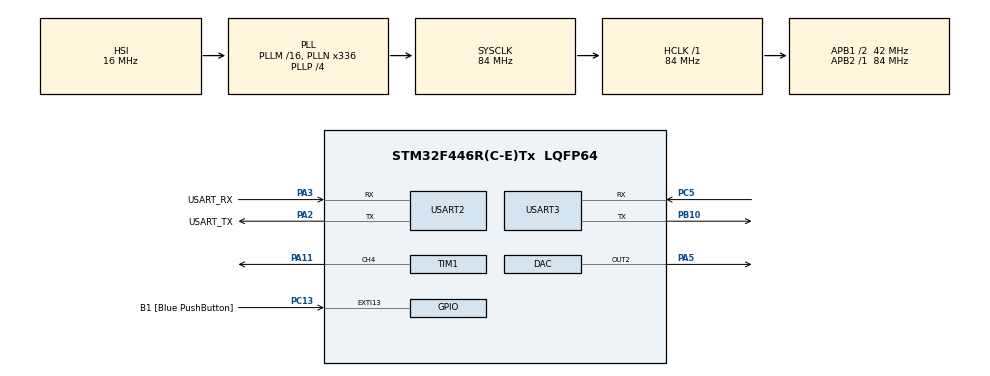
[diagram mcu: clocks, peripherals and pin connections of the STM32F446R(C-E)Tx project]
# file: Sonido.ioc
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DAC.DAC_Trigger2=DAC_TRIGGER_T6_TRGO
Dma.DAC2.0.Direction=DMA_MEMORY_TO_PERIPH
Dma.DAC2.0.FIFOMode=DMA_FIFOMODE_DISABLE
Dma.DAC2.0.Instance=DMA1_Stream6
Dma.DAC2.0.MemDataAlignment=DMA_MDATAALIGN_HALFWORD
Dma.DAC2.0.MemInc=DMA_MINC_ENABLE
Dma.DAC2.0.Mode=DMA_CIRCULAR
Dma.DAC2.0.PeriphDataAlignment=DMA_PDATAALIGN_HALFWORD
Dma.DAC2.0.PeriphInc=DMA_PINC_DISABLE
Dma.DAC2.0.Priority=DMA_PRIORITY_LOW
Dma.Request0=DAC2
Mcu.Family=STM32F4
Mcu.Name=STM32F446R(C-E)Tx
Mcu.Package=LQFP64
NVIC.DMA1_Stream6_IRQn=true\:0\:0\:false\:false\:true\:false\:true\:true
NVIC.PriorityGroup=NVIC_PRIORITYGROUP_0
NVIC.USART2_IRQn=true\:0\:0\:false\:false\:true\:true\:true\:true
NVIC.USART3_IRQn=true\:0\:0\:false\:false\:true\:true\:true\:true
PA11.Signal=S_TIM1_CH4
PA13.GPIO_Label=TMS
PA13.Mode=Serial_Wire
PA13.Signal=SYS_JTMS-SWDIO
PA14.GPIO_Label=TCK
PA14.Mode=Serial_Wire
PA14.Signal=SYS_JTCK-SWCLK
PA2.GPIO_Label=USART_TX
PA2.Mode=Asynchronous
PA2.Signal=USART2_TX
PA3.GPIO_Label=USART_RX
PA3.Mode=Asynchronous
PA3.Signal=USART2_RX
PA5.Signal=COMP_DAC2_group
PB10.Mode=Asynchronous
PB10.Signal=USART3_TX
PB3.GPIO_Label=SWO
PB3.Signal=SYS_JTDO-SWO
PC13.GPIO_Label=B1 [Blue PushButton]
PC13.GPIO_ModeDefaultEXTI=GPIO_MODE_IT_FALLING
PC13.Signal=GPXTI13
PC14-OSC32_IN.Mode=LSE-External-Oscillator
PC14-OSC32_IN.Signal=RCC_OSC32_IN
PC15-OSC32_OUT.Mode=LSE-External-Oscillator
PC15-OSC32_OUT.Signal=RCC_OSC32_OUT
PC5.Mode=Asynchronous
PC5.Signal=USART3_RX
PH0-OSC_IN.Mode=HSE-External-Oscillator
PH0-OSC_IN.Signal=RCC_OSC_IN
PH1-OSC_OUT.Mode=HSE-External-Oscillator
PH1-OSC_OUT.Signal=RCC_OSC_OUT
ProjectManager.HeapSize=0x200
ProjectManager.StackSize=0x400
ProjectManager.TargetToolchain=STM32CubeIDE
RCC.48MHZClocksFreq_Value=84000000
RCC.AHBFreq_Value=84000000
RCC.APB1CLKDivider=RCC_HCLK_DIV2
RCC.APB1Freq_Value=42000000
RCC.APB1TimFreq_Value=84000000
RCC.APB2Freq_Value=84000000
RCC.APB2TimFreq_Value=84000000
RCC.CortexFreq_Value=84000000
RCC.FLatency-AdvancedSettings=FLASH_LATENCY_2
RCC.HCLKFreq_Value=84000000
RCC.HSE_VALUE=8000000
RCC.HSI_VALUE=16000000
RCC.PLLN=336
RCC.PLLP=RCC_PLLP_DIV4
RCC.SYSCLKFreq_VALUE=84000000
RCC.SYSCLKSource=RCC_SYSCLKSOURCE_PLLCLK
RCC.USBFreq_Value=168000000
RCC.VCOOutputFreq_Value=336000000
SH.COMP_DAC2_group.0=DAC_OUT2,DAC_OUT2
SH.S_TIM1_CH4.0=TIM1_CH4,PWM Generation4 CH4
TIM1.Channel-PWM\ Generation4\ CH4=TIM_CHANNEL_4
TIM1.Period=100-1
TIM1.Pulse-PWM\ Generation4\ CH4=50
TIM6.Period=1000-1
TIM6.Prescaler=1
TIM6.TIM_MasterOutputTrigger=TIM_TRGO_UPDATE
USART2.OverSampling=UART_OVERSAMPLING_8
USART2.VirtualMode=VM_ASYNC
USART3.OverSampling=UART_OVERSAMPLING_16
USART3.VirtualMode=VM_ASYNC
VP_TIM1_VS_ClockSourceINT.Mode=Internal
VP_TIM6_VS_ClockSourceINT.Mode=Enable_Timer
board=NUCLEO-F446RE

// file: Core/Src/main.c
/* USER CODE BEGIN Header */
/**
  ******************************************************************************
  * @file           : main.c
  * @brief          : Main program body
  ******************************************************************************
  * @attention
  *
  * Copyright (c) 2026 STMicroelectronics.
  * All rights reserved.
  *
  * This software is licensed under terms that can be found in the LICENSE file
  * in the root directory of this software component.
  * If no LICENSE file comes with this software, it is provided AS-IS.
  *
  ******************************************************************************
  */
/* USER CODE END Header */
#include "main.h"

/* USER CODE BEGIN Includes */
#include "stdint.h"
#include <string.h>
#include <stdio.h>
#include <pitches.h>
#include <math.h>
/* USER CODE END Includes */

/* USER CODE BEGIN PD */
#define TIM_FREQ 84000000
#define Autoreload 100
#define sinsize 128
uint32_t Ysen[sinsize];
#define Pi 3.1415926
#define PRESSC 1
/* USER CODE END PD */

DAC_HandleTypeDef hdac;
DMA_HandleTypeDef hdma_dac2;

TIM_HandleTypeDef htim1;
TIM_HandleTypeDef htim6;

UART_HandleTypeDef huart2;
UART_HandleTypeDef huart3;

/* USER CODE BEGIN PV */
uint8_t control[1];
uint8_t cancion=0;

//Cancion 2
int melody2[] = {
    NOTE_AS4, NOTE_REST, NOTE_AS5, NOTE_REST,
    NOTE_C5,  NOTE_REST, NOTE_C6,  NOTE_REST,
    NOTE_DS5, NOTE_REST, NOTE_DS6, NOTE_REST,
    NOTE_F5,  NOTE_REST, NOTE_F6,  NOTE_REST,
    NOTE_AS4, NOTE_AS5, NOTE_AS4, NOTE_AS5,
    NOTE_C5,  NOTE_C6,  NOTE_C5,  NOTE_C6,
    NOTE_DS5, NOTE_DS6, NOTE_F5,  NOTE_F6,
    NOTE_AS5, NOTE_C6,  NOTE_DS6, NOTE_F6
};
int durations2[] = {
    120, 40, 120, 40,
    120, 40, 120, 40,
    120, 40, 120, 40,
    120, 40, 120, 40,
    80, 80, 80, 80,
    80, 80, 80, 80,
    80, 80, 60, 60,
    100, 100, 100, 120
};
int pauses2[] = {
    120, 80, 120, 80,
    120, 80, 120, 80,
    120, 80, 120, 80,
    120, 80, 120, 80,
    80, 80, 80, 80,
    80, 80, 80, 80,
    80, 80, 60, 60,
    100, 100, 100, 120
};
//Cancion 3

// Canción "Neon Grid" - Estilo TRON techno (aprox 10.5 segundos)
int melody[] = {
  // Frase 1 (subida agresiva)
  NOTE_G5, NOTE_REST, NOTE_A5, NOTE_REST, NOTE_B5, NOTE_REST, NOTE_C6, NOTE_REST,
  NOTE_E5, NOTE_REST, NOTE_F5, NOTE_REST, NOTE_G5, NOTE_REST, NOTE_A5, NOTE_REST,

  // Frase 2 (patrón binario - estilo Tron)
  NOTE_F5, NOTE_F5, NOTE_G5, NOTE_G5, NOTE_A5, NOTE_A5, NOTE_B5, NOTE_B5,
  NOTE_C6, NOTE_REST, NOTE_AS5, NOTE_REST, NOTE_A5, NOTE_REST, NOTE_GS5, NOTE_REST,

  // Frase 3 (crescendo)
  NOTE_D6, NOTE_D6, NOTE_E6, NOTE_E6, NOTE_F6, NOTE_F6, NOTE_G6, NOTE_G6,
  NOTE_A6, NOTE_REST, NOTE_GS6, NOTE_REST, NOTE_G6, NOTE_REST, NOTE_FS6, NOTE_REST,

  // Frase 4 (cierre pulsante)
  NOTE_E6, NOTE_REST, NOTE_F6, NOTE_REST, NOTE_G6, NOTE_REST, NOTE_A6, NOTE_REST,
  NOTE_B5, NOTE_B5, NOTE_C6, NOTE_C6, NOTE_D6, NOTE_D6, NOTE_E6, NOTE_E6
};
int durations1[] = {
  // Frase 1: notas staccato (rápidas)
  120, 40, 120, 40, 120, 40, 120, 40,
  120, 40, 120, 40, 120, 40, 120, 40,

  // Frase 2: patrón rítmico (80ms = 8vas, 160ms = negras)
  80, 80, 80, 80, 80, 80, 80, 80,
  160, 40, 120, 40, 120, 40, 120, 40,

  // Frase 3: ascendente más largo
  100, 100, 100, 100, 100, 100, 100, 100,
  120, 40, 120, 40, 120, 40, 120, 40,

  // Frase 4: final
  120, 40, 120, 40, 120, 40, 120, 40,
  100, 100, 100, 100, 100, 100, 100, 100
};

int retro_melody[] = {
  NOTE_E5, NOTE_E5, NOTE_REST, NOTE_E5, NOTE_REST, NOTE_C5, NOTE_E5, NOTE_REST, // Frase 1
  NOTE_G5, NOTE_REST, NOTE_G4, NOTE_REST,
  NOTE_C5, NOTE_G4, NOTE_E4, NOTE_A4, NOTE_B4, NOTE_AS4, NOTE_A4,               // Frase 2
  NOTE_G4, NOTE_E5, NOTE_G5, NOTE_A5, NOTE_F5, NOTE_G5,
  NOTE_E5, NOTE_C5, NOTE_D5, NOTE_B4,                                         // Cierre
  NOTE_C5, NOTE_G4, NOTE_E4, NOTE_A4, NOTE_B4, NOTE_AS4, NOTE_A4,
  NOTE_G4, NOTE_E5, NOTE_G5, NOTE_A5, NOTE_F5, NOTE_G5,
  NOTE_E5, NOTE_C5, NOTE_D5, NOTE_B4
};
int retro_durations[] = {
  125, 125, 125, 125, 125, 125, 250, 125, // Frase 1
  250, 250, 250, 250,
  375, 375, 250, 250, 250, 125, 250,      // Frase 2
  166, 166, 166, 250, 125, 250,
  250, 250, 125, 250,                     // Cierre
  375, 375, 250, 250, 250, 125, 250,
  166, 166, 166, 250, 125, 250,
  250, 250, 125, 250
};
int melody3[] = {
		NOTE_E5, NOTE_G5, NOTE_A5, NOTE_G5,
		NOTE_E5, NOTE_D5, NOTE_C5, NOTE_D5,

		NOTE_E5, NOTE_G5, NOTE_A5, NOTE_C6,
		NOTE_B5, NOTE_A5, NOTE_G5, NOTE_E5,

		NOTE_D5, NOTE_E5, NOTE_G5, NOTE_A5,
		NOTE_G5, NOTE_E5, NOTE_D5, NOTE_C5,

		NOTE_D5, NOTE_E5, NOTE_G5, NOTE_E5,
		NOTE_D5, NOTE_C5, NOTE_D5,
};
int durations3[] = {
		250, 250, 300, 200,
		250, 250, 300, 200,

		250, 250, 300, 300,
		250, 250, 250, 300,

		250, 250, 300, 200,
		250, 250, 300, 200,

		250, 250, 300, 250,
		250, 400, 300,

};
int pauses3[] = {
    300,300,350,250,
    300,300,350,250,

    300,300,350,350,
    300,300,300,350,

    300,300,350,250,
    300,300,350,250,

    300,300,350,300,
    300,450,350,200
};
/* USER CODE END PV */

void SystemClock_Config(void);
static void MX_GPIO_Init(void);
static void MX_DMA_Init(void);
static void MX_TIM1_Init(void);
static void MX_USART2_UART_Init(void);
static void MX_DAC_Init(void);
static void MX_TIM6_Init(void);
static void MX_USART3_UART_Init(void);
/* USER CODE BEGIN PFP */
int pressForFrecuency (int frecuency);
void playTone(int *tone, int *durations, int *pause, int size);
void noTone(void);

//DAC musicaaal
void generarsen(void);
int calcularAutoreload(int freq);
void playToneDAC(int *tone, int *durations, int *pause, int size);
void noToneDAC(void);
/* USER CODE END PFP */

/* USER CODE BEGIN 0 */
int pressForFrecuency(int frecuency){
	if (frecuency==0)
		return 0;
	return ((TIM_FREQ/(Autoreload*frecuency))-1);
}

void playTone(int *tone, int *durations, int *pause, int size){
	for (int i=0; i<size; i++){
		int prescaler =pressForFrecuency(tone[i]);
		int dur= durations[i];
		int PausebetNotes=0;
		if (pause != NULL)
			PausebetNotes=pause[i]-durations[i];
		__HAL_TIM_SET_PRESCALER(&htim1, prescaler);
		HAL_Delay(dur);
		noTone();
		HAL_Delay(PausebetNotes);
	}
}

void noTone(void){
	__HAL_TIM_SET_PRESCALER(&htim1, 0);
}

//DAC

void generarsen(void){
	for(int x=0; x<sinsize; x++){
		Ysen[x]= ((sin(x*2*Pi/sinsize)+1)*(4096/2));
	}
}
int calcularAutoreload(int freq){
	if(freq==0)
		return 0;
	int TF = sinsize*freq;
	return ((TIM_FREQ/((PRESSC+1)*TF))-1);
}

void playToneDAC(int *tone, int *durations, int *pause, int size){
	for (int i=0; i<size; i++){
		if (cancion == '0') {
			noToneDAC();
		    break;
		    }
		int valorAutoreload =calcularAutoreload(tone[i]);
		int dur= durations[i];
		int PausebetNotes=0;
		if (pause != NULL)
			PausebetNotes=pause[i]-durations[i];
		TIM6->ARR =valorAutoreload;
		HAL_Delay(dur);//Duracion de nota
		noToneDAC();
		if (PausebetNotes > 0) {
			HAL_Delay(PausebetNotes);
			}
	}
}
void noToneDAC(void){
	TIM6->ARR=0;
}
/* USER CODE END 0 */

int main(void)
{

  /* MCU Configuration--------------------------------------------------------*/

  /* Reset of all peripherals, Initializes the Flash interface and the Systick. */
  HAL_Init();

  /* Configure the system clock */
  SystemClock_Config();

  /* Initialize all configured peripherals */
  MX_GPIO_Init();
  MX_DMA_Init();
  MX_TIM1_Init();
  MX_USART2_UART_Init();
  MX_DAC_Init();
  MX_TIM6_Init();
  MX_USART3_UART_Init();
  /* USER CODE BEGIN 2 */
  //DAC
  generarsen();
  HAL_DAC_Init(&hdac);
  HAL_TIM_Base_Start(&htim6);
  HAL_DAC_Start_DMA(&hdac, DAC_CHANNEL_2, Ysen, sinsize, DAC_ALIGN_12B_R);
  HAL_UART_Receive_IT(&huart3, control, 1);
  //Ganador
  //playToneDAC(melody2, durations2, pauses2, sizeof(melody2)/sizeof(int));
  //MAIN
  //playToneDAC(melody, durations1, NULL, sizeof(melody)/sizeof(int));

  //playToneDAC(retro_melody, retro_durations, NULL, sizeof(retro_melody)/sizeof(int));
 // Juego
  // playToneDAC(melody3, durations3, NULL, sizeof(melody3)/sizeof(int));
  /* USER CODE END 2 */

  /* Infinite loop */
  /* USER CODE BEGIN WHILE */
  cancion='0';
  while (1)
  {
    /* USER CODE END WHILE */

    /* USER CODE BEGIN 3 */
	  /* USER CODE BEGIN 3 */
	  if (cancion == '1') { // ASCII '1'
		playToneDAC(melody, durations1, NULL, sizeof(melody)/sizeof(int));
	  }
	  else if (cancion == '2') {
		  playToneDAC(melody3, durations3, NULL, sizeof(melody3)/sizeof(int));
	  }
	  else if (cancion == '3') {
		  playToneDAC(melody2, durations2, pauses2, sizeof(melody2)/sizeof(int));
		  cancion='0';
	  }
	  else if (cancion == '0') {
		  noToneDAC(); // Asegurarnos que el DAC esté en silencio
	  }
  }
  /* USER CODE END 3 */
}

void SystemClock_Config(void)
{
  RCC_OscInitTypeDef RCC_OscInitStruct = {0};
  RCC_ClkInitTypeDef RCC_ClkInitStruct = {0};

  /** Configure the main internal regulator output voltage
  */
  __HAL_RCC_PWR_CLK_ENABLE();
  __HAL_PWR_VOLTAGESCALING_CONFIG(PWR_REGULATOR_VOLTAGE_SCALE3);

  /** Initializes the RCC Oscillators according to the specified parameters
  * in the RCC_OscInitTypeDef structure.
  */
  RCC_OscInitStruct.OscillatorType = RCC_OSCILLATORTYPE_HSI;
  RCC_OscInitStruct.HSIState = RCC_HSI_ON;
  RCC_OscInitStruct.HSICalibrationValue = RCC_HSICALIBRATION_DEFAULT;
  RCC_OscInitStruct.PLL.PLLState = RCC_PLL_ON;
  RCC_OscInitStruct.PLL.PLLSource = RCC_PLLSOURCE_HSI;
  RCC_OscInitStruct.PLL.PLLM = 16;
  RCC_OscInitStruct.PLL.PLLN = 336;
  RCC_OscInitStruct.PLL.PLLP = RCC_PLLP_DIV4;
  RCC_OscInitStruct.PLL.PLLQ = 2;
  RCC_OscInitStruct.PLL.PLLR = 2;
  if (HAL_RCC_OscConfig(&RCC_OscInitStruct) != HAL_OK)
  {
    Error_Handler();
  }

  /** Initializes the CPU, AHB and APB buses clocks
  */
  RCC_ClkInitStruct.ClockType = RCC_CLOCKTYPE_HCLK|RCC_CLOCKTYPE_SYSCLK
                              |RCC_CLOCKTYPE_PCLK1|RCC_CLOCKTYPE_PCLK2;
  RCC_ClkInitStruct.SYSCLKSource = RCC_SYSCLKSOURCE_PLLCLK;
  RCC_ClkInitStruct.AHBCLKDivider = RCC_SYSCLK_DIV1;
  RCC_ClkInitStruct.APB1CLKDivider = RCC_HCLK_DIV2;
  RCC_ClkInitStruct.APB2CLKDivider = RCC_HCLK_DIV1;

  if (HAL_RCC_ClockConfig(&RCC_ClkInitStruct, FLASH_LATENCY_2) != HAL_OK)
  {
    Error_Handler();
  }
}

static void MX_DAC_Init(void)
{

  DAC_ChannelConfTypeDef sConfig = {0};

  /** DAC Initialization
  */
  hdac.Instance = DAC;
  if (HAL_DAC_Init(&hdac) != HAL_OK)
  {
    Error_Handler();
  }

  /** DAC channel OUT2 config
  */
  sConfig.DAC_Trigger = DAC_TRIGGER_T6_TRGO;
  sConfig.DAC_OutputBuffer = DAC_OUTPUTBUFFER_ENABLE;
  if (HAL_DAC_ConfigChannel(&hdac, &sConfig, DAC_CHANNEL_2) != HAL_OK)
  {
    Error_Handler();
  }

}

static void MX_TIM1_Init(void)
{

  TIM_ClockConfigTypeDef sClockSourceConfig = {0};
  TIM_MasterConfigTypeDef sMasterConfig = {0};
  TIM_OC_InitTypeDef sConfigOC = {0};
  TIM_BreakDeadTimeConfigTypeDef sBreakDeadTimeConfig = {0};

  htim1.Instance = TIM1;
  htim1.Init.Prescaler = 0;
  htim1.Init.CounterMode = TIM_COUNTERMODE_UP;
  htim1.Init.Period = 100-1;
  htim1.Init.ClockDivision = TIM_CLOCKDIVISION_DIV1;
  htim1.Init.RepetitionCounter = 0;
  htim1.Init.AutoReloadPreload = TIM_AUTORELOAD_PRELOAD_DISABLE;
  if (HAL_TIM_Base_Init(&htim1) != HAL_OK)
  {
    Error_Handler();
  }
  sClockSourceConfig.ClockSource = TIM_CLOCKSOURCE_INTERNAL;
  if (HAL_TIM_ConfigClockSource(&htim1, &sClockSourceConfig) != HAL_OK)
  {
    Error_Handler();
  }
  if (HAL_TIM_PWM_Init(&htim1) != HAL_OK)
  {
    Error_Handler();
  }
  sMasterConfig.MasterOutputTrigger = TIM_TRGO_RESET;
  sMasterConfig.MasterSlaveMode = TIM_MASTERSLAVEMODE_DISABLE;
  if (HAL_TIMEx_MasterConfigSynchronization(&htim1, &sMasterConfig) != HAL_OK)
  {
    Error_Handler();
  }
  sConfigOC.OCMode = TIM_OCMODE_PWM1;
  sConfigOC.Pulse = 50;
  sConfigOC.OCPolarity = TIM_OCPOLARITY_HIGH;
  sConfigOC.OCFastMode = TIM_OCFAST_DISABLE;
  sConfigOC.OCIdleState = TIM_OCIDLESTATE_RESET;
  sConfigOC.OCNIdleState = TIM_OCNIDLESTATE_RESET;
  if (HAL_TIM_PWM_ConfigChannel(&htim1, &sConfigOC, TIM_CHANNEL_4) != HAL_OK)
  {
    Error_Handler();
  }
  sBreakDeadTimeConfig.OffStateRunMode = TIM_OSSR_DISABLE;
  sBreakDeadTimeConfig.OffStateIDLEMode = TIM_OSSI_DISABLE;
  sBreakDeadTimeConfig.LockLevel = TIM_LOCKLEVEL_OFF;
  sBreakDeadTimeConfig.DeadTime = 0;
  sBreakDeadTimeConfig.BreakState = TIM_BREAK_DISABLE;
  sBreakDeadTimeConfig.BreakPolarity = TIM_BREAKPOLARITY_HIGH;
  sBreakDeadTimeConfig.AutomaticOutput = TIM_AUTOMATICOUTPUT_DISABLE;
  if (HAL_TIMEx_ConfigBreakDeadTime(&htim1, &sBreakDeadTimeConfig) != HAL_OK)
  {
    Error_Handler();
  }
  HAL_TIM_MspPostInit(&htim1);

}

static void MX_TIM6_Init(void)
{

  TIM_MasterConfigTypeDef sMasterConfig = {0};

  htim6.Instance = TIM6;
  htim6.Init.Prescaler = 1;
  htim6.Init.CounterMode = TIM_COUNTERMODE_UP;
  htim6.Init.Period = 1000-1;
  htim6.Init.AutoReloadPreload = TIM_AUTORELOAD_PRELOAD_DISABLE;
  if (HAL_TIM_Base_Init(&htim6) != HAL_OK)
  {
    Error_Handler();
  }
  sMasterConfig.MasterOutputTrigger = TIM_TRGO_UPDATE;
  sMasterConfig.MasterSlaveMode = TIM_MASTERSLAVEMODE_DISABLE;
  if (HAL_TIMEx_MasterConfigSynchronization(&htim6, &sMasterConfig) != HAL_OK)
  {
    Error_Handler();
  }

}

static void MX_USART2_UART_Init(void)
{

  huart2.Instance = USART2;
  huart2.Init.BaudRate = 115200;
  huart2.Init.WordLength = UART_WORDLENGTH_8B;
  huart2.Init.StopBits = UART_STOPBITS_1;
  huart2.Init.Parity = UART_PARITY_NONE;
  huart2.Init.Mode = UART_MODE_TX_RX;
  huart2.Init.HwFlowCtl = UART_HWCONTROL_NONE;
  huart2.Init.OverSampling = UART_OVERSAMPLING_8;
  if (HAL_UART_Init(&huart2) != HAL_OK)
  {
    Error_Handler();
  }

}

static void MX_USART3_UART_Init(void)
{

  huart3.Instance = USART3;
  huart3.Init.BaudRate = 115200;
  huart3.Init.WordLength = UART_WORDLENGTH_8B;
  huart3.Init.StopBits = UART_STOPBITS_1;
  huart3.Init.Parity = UART_PARITY_NONE;
  huart3.Init.Mode = UART_MODE_TX_RX;
  huart3.Init.HwFlowCtl = UART_HWCONTROL_NONE;
  huart3.Init.OverSampling = UART_OVERSAMPLING_16;
  if (HAL_UART_Init(&huart3) != HAL_OK)
  {
    Error_Handler();
  }

}

static void MX_DMA_Init(void)
{

  /* DMA controller clock enable */
  __HAL_RCC_DMA1_CLK_ENABLE();

  /* DMA interrupt init */
  /* DMA1_Stream6_IRQn interrupt configuration */
  HAL_NVIC_SetPriority(DMA1_Stream6_IRQn, 0, 0);
  HAL_NVIC_EnableIRQ(DMA1_Stream6_IRQn);

}

static void MX_GPIO_Init(void)
{
  GPIO_InitTypeDef GPIO_InitStruct = {0};

  /* GPIO Ports Clock Enable */
  __HAL_RCC_GPIOC_CLK_ENABLE();
  __HAL_RCC_GPIOH_CLK_ENABLE();
  __HAL_RCC_GPIOA_CLK_ENABLE();
  __HAL_RCC_GPIOB_CLK_ENABLE();

  /*Configure GPIO pin : B1_Pin */
  GPIO_InitStruct.Pin = B1_Pin;
  GPIO_InitStruct.Mode = GPIO_MODE_IT_FALLING;
  GPIO_InitStruct.Pull = GPIO_NOPULL;
  HAL_GPIO_Init(B1_GPIO_Port, &GPIO_InitStruct);

}

/* USER CODE BEGIN 4 */
void HAL_UART_RxCpltCallback(UART_HandleTypeDef *huart){
	cancion=control[0];
	HAL_UART_Receive_IT(&huart3, control, 1);
}
/* USER CODE END 4 */

void Error_Handler(void)
{
  __disable_irq();
  while (1)
  {
  }
}
